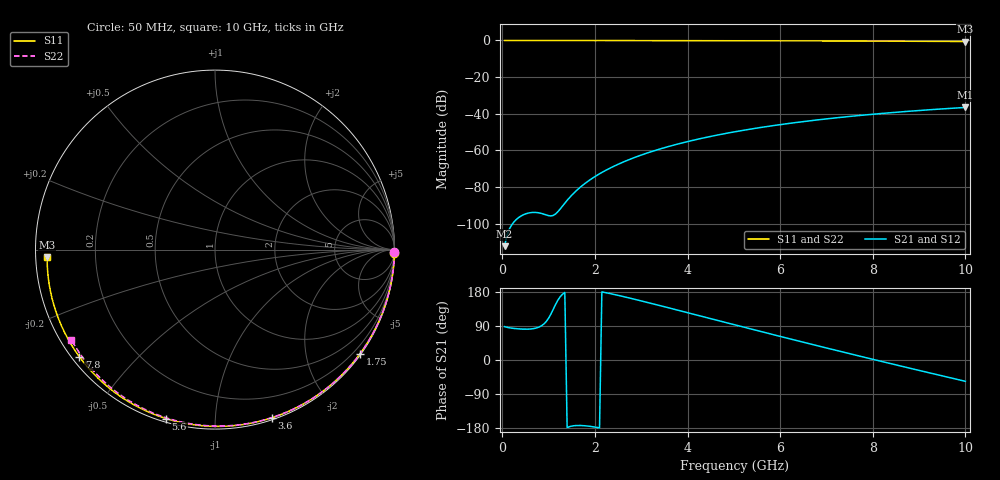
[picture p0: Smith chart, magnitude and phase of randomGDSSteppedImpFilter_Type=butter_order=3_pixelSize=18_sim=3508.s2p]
! freq	dB(S11)	phase(S11)	dB(S12)	phase(S12)
!  dB(S21)	phase(S21)	dB(S22)	phase(S22)
!S-par simulation data
#  GHz  S  DB  R 50
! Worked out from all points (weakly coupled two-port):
!   200 points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, 50 MHz to 10 GHz, reference 50 ohm
!   highest |S21| = -36.60 dB at 10 GHz (marker M1); lowest = -112.4 dB at 50 MHz (marker M2)
!   lowest |S11| = -0.6 dB at 10 GHz (marker M3), VSWR 30.41, Z = 1.65 - j1.16 ohm
!   |S11| at or under -10 dB: nowhere
!   |S22| runs from -0.5 to 0.0 dB; largest |S21 - S12| = 0
!   S11 on the Smith chart (normalised r, x): 50 MHz: open; 1.75 GHz: 0.03, -3.09; 3.6 GHz: 0.02, -1.39; 5.6 GHz: 0.02, -0.75; 7.8 GHz: 0.02, -0.35; 10 GHz: 0.03, -0.02
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0.05  -0.00 -1.0  -112.36 88.1  -112.36 88.1  -0.00 -0.9
0.4  -0.01 -8.3  -95.95 81.8  -95.95 81.8  -0.01 -6.9
0.8  -0.02 -16.6  -94.21 87.3  -94.21 87.3  -0.02 -13.7
1.2  -0.03 -24.8  -93.56 157.8  -93.56 157.8  -0.03 -20.5
1.65  -0.04 -33.8  -80.90 -172.8  -80.90 -172.8  -0.04 -28.0
1.7  -0.04 -34.8  -79.82 -172.9  -79.82 -172.9  -0.04 -28.9
1.75  -0.05 -35.8  -78.80 -173.2  -78.80 -173.2  -0.04 -29.7
2.05  -0.05 -41.8  -73.58 -178.0  -73.58 -178.0  -0.04 -34.6
2.45  -0.06 -49.6  -68.22 172.0  -68.22 172.0  -0.05 -41.2
2.9  -0.08 -58.2  -63.51 159.0  -63.51 159.0  -0.06 -48.4
3.4  -0.09 -67.6  -59.31 143.7  -59.31 143.7  -0.07 -56.4
3.6  -0.10 -71.3  -57.85 137.5  -57.85 137.5  -0.08 -59.5
4.3  -0.12 -83.9  -53.49 115.5  -53.49 115.5  -0.10 -70.2
5.05  -0.15 -96.9  -49.75 91.9  -49.75 91.9  -0.12 -81.3
5.6  -0.18 -106.2  -47.46 74.7  -47.46 74.7  -0.15 -89.2
6.15  -0.21 -115.2  -45.46 57.7  -45.46 57.7  -0.17 -96.9
6.7  -0.24 -124.2  -43.70 40.8  -43.70 40.8  -0.20 -104.5
7.25  -0.28 -133.0  -42.15 24.2  -42.15 24.2  -0.24 -111.9
7.8  -0.33 -141.7  -40.77 7.8  -40.77 7.8  -0.28 -119.2
8.35  -0.38 -150.4  -39.54 -8.5  -39.54 -8.5  -0.32 -126.5
9.2  -0.47 -164.1  -37.89 -33.3  -37.89 -33.3  -0.40 -137.5
10  -0.57 -177.3  -36.60 -56.3  -36.60 -56.3  -0.50 -147.9
